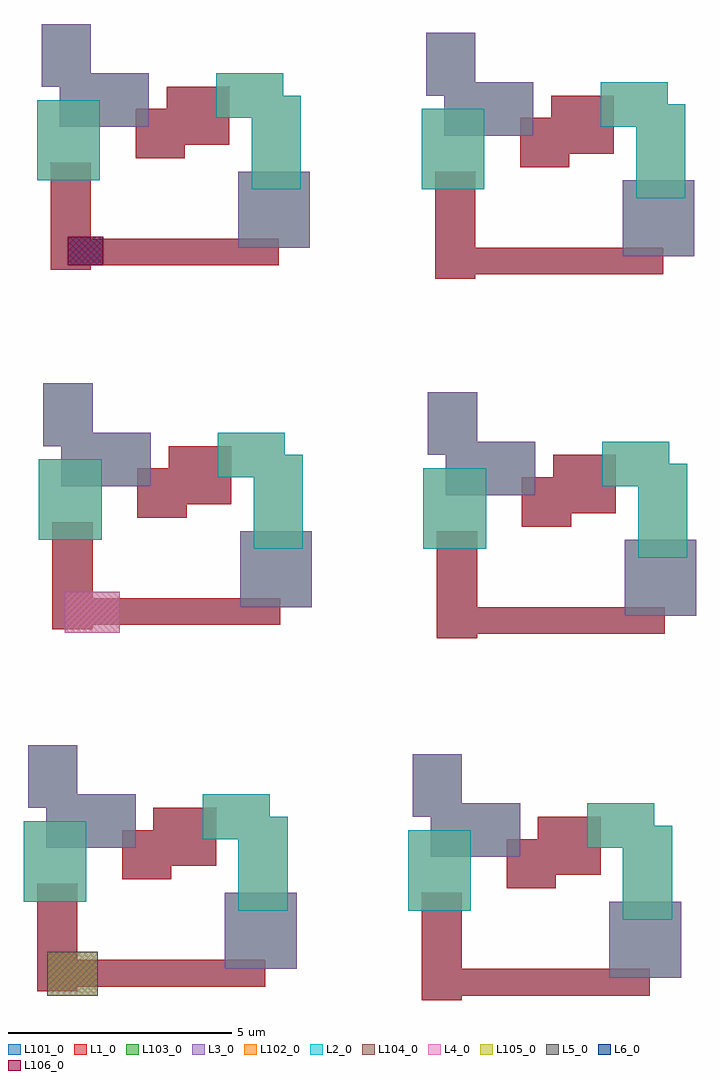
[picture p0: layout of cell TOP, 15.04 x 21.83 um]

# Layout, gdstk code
import gdstk
lib = gdstk.Library(unit=1e-6, precision=1e-09)
def R(c, l, rs):  # rectangles x0, y0, x1, y1
    for r in rs: c.add(gdstk.rectangle(r[:2], r[2:], *l))
L1_0 = (1, 0)
L2_0 = (2, 0)
L3_0 = (3, 0)
L4_0 = (4, 0)
L5_0 = (5, 0)
L6_0 = (6, 0)
L101_0 = (101, 0)
L102_0 = (102, 0)
L103_0 = (103, 0)
L104_0 = (104, 0)
L105_0 = (105, 0)
L106_0 = (106, 0)

c_c1 = lib.new_cell('C1')
R(c_c1, L1_0, [(-2.7,-3.3,-1.8,-0.9), (-2.1,-3.2,2.4,-2.6), (-0.8,-0.8,0.3,0.3), (-0.1,-0.5,1.3,0.8)])
R(c_c1, L2_0, [(1.8,-1.5,2.9,0.6), (-3,-1.3,-1.6,0.5), (1,0.1,2.5,1.1)])
R(c_c1, L3_0, [(1.5,-2.8,3.1,-1.1), (-2.5,-0.1,-0.5,1.1), (-2.9,0.8,-1.8,2.2)])
R(c_c1, L101_0, [(-0.8,-0.8,0.3,0.3), (-0.1,-0.5,1.3,0.8)])
R(c_c1, L102_0, [(1.8,-1.5,2.9,0.6), (1,0.1,2.5,1.1)])
R(c_c1, L103_0, [(-2.5,-0.1,-0.5,1.1), (-2.9,0.8,-1.8,2.2)])

c_c2 = lib.new_cell('C2')
R(c_c2, L101_0, [(8.9,-0.1,9.8,2.3), (9.5,0,14,0.6)])
R(c_c2, L102_0, [(8.6,1.9,10,3.7)])
R(c_c2, L103_0, [(13.1,0.4,14.7,2.1)])
c_c2.add(gdstk.Reference(c_c1, (3,3.4)))
c_c2.add(gdstk.Reference(c_c1, (11.6,3.2)))

c_c4 = lib.new_cell('C4')
c_c4.add(gdstk.Reference(c_c2, (0,0.1)))

c_c3 = lib.new_cell('C3')
R(c_c3, L4_0, [(0.92,8.21,2.15,9.13)])
R(c_c3, L5_0, [(0.52,0.1,1.65,1.08)])
c_c3.add(gdstk.Reference(c_c2, (0,0.1)))
c_c3.add(gdstk.Reference(c_c2, (0.34,8.19)))

top = lib.new_cell('TOP')
R(top, L6_0, [(0.68,16.23,1.48,16.87)])
R(top, L101_0, [(0,0,0.9,2.4), (0.6,0.1,5.1,0.7), (0.34,8.09,1.24,10.49), (0.94,8.19,5.44,8.79), (0.3,16.13,1.2,18.53), (0.9,16.23,5.4,16.83)])
R(top, L102_0, [(-0.3,2,1.1,3.8), (0.04,10.09,1.44,11.89), (0,18.13,1.4,19.93)])
R(top, L103_0, [(4.2,0.5,5.8,2.2), (4.54,8.59,6.14,10.29), (4.5,16.63,6.1,18.33)])
R(top, L104_0, [(0.62,8.01,1.85,8.93)])
R(top, L105_0, [(0.22,-0.1,1.35,0.88)])
R(top, L106_0, [(0.68,16.23,1.48,16.87)])
top.add(gdstk.Reference(c_c4, (0,15.93)))
top.add(gdstk.Reference(c_c3, (-0.3,-0.2)))

lib.write_gds('TOP.gds')
